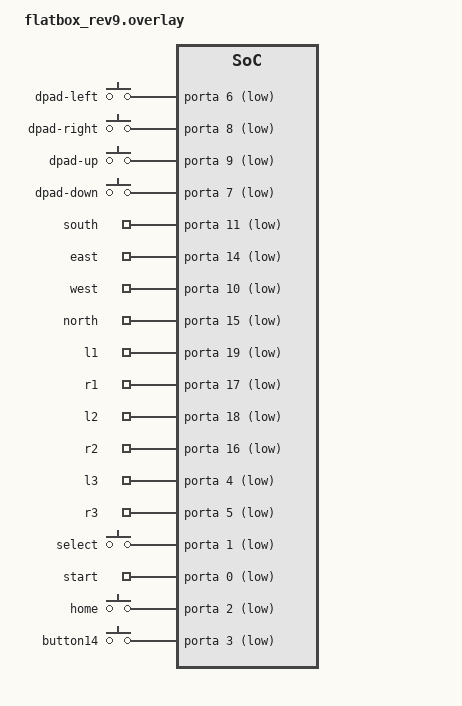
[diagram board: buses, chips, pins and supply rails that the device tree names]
/ {
    gamepad-buttons {
        compatible = "gpio-keys";
        /* Flatbox rev9 */
        dpad-left { gpios = <&porta 6 (GPIO_PULL_UP | GPIO_ACTIVE_LOW)>; };
        dpad-right { gpios = <&porta 8 (GPIO_PULL_UP | GPIO_ACTIVE_LOW)>; };
        dpad-up { gpios = <&porta 9 (GPIO_PULL_UP | GPIO_ACTIVE_LOW)>; };
        dpad-down { gpios = <&porta 7 (GPIO_PULL_UP | GPIO_ACTIVE_LOW)>; };
        south { gpios = <&porta 11 (GPIO_PULL_UP | GPIO_ACTIVE_LOW)>; };
        east { gpios = <&porta 14 (GPIO_PULL_UP | GPIO_ACTIVE_LOW)>; };
        west { gpios = <&porta 10 (GPIO_PULL_UP | GPIO_ACTIVE_LOW)>; };
        north { gpios = <&porta 15 (GPIO_PULL_UP | GPIO_ACTIVE_LOW)>; };
        l1 { gpios = <&porta 19 (GPIO_PULL_UP | GPIO_ACTIVE_LOW)>; };
        r1 { gpios = <&porta 17 (GPIO_PULL_UP | GPIO_ACTIVE_LOW)>; };
        l2 { gpios = <&porta 18 (GPIO_PULL_UP | GPIO_ACTIVE_LOW)>; };
        r2 { gpios = <&porta 16 (GPIO_PULL_UP | GPIO_ACTIVE_LOW)>; };
        l3 { gpios = <&porta 4 (GPIO_PULL_UP | GPIO_ACTIVE_LOW)>; };
        r3 { gpios = <&porta 5 (GPIO_PULL_UP | GPIO_ACTIVE_LOW)>; };
        select { gpios = <&porta 1 (GPIO_PULL_UP | GPIO_ACTIVE_LOW)>; };
        start { gpios = <&porta 0 (GPIO_PULL_UP | GPIO_ACTIVE_LOW)>; };
        home { gpios = <&porta 2 (GPIO_PULL_UP | GPIO_ACTIVE_LOW)>; };
        button14 { gpios = <&porta 3 (GPIO_PULL_UP | GPIO_ACTIVE_LOW)>; };
    };

    aliases {
        sys-button = "/gamepad-buttons/start";
    };
};
